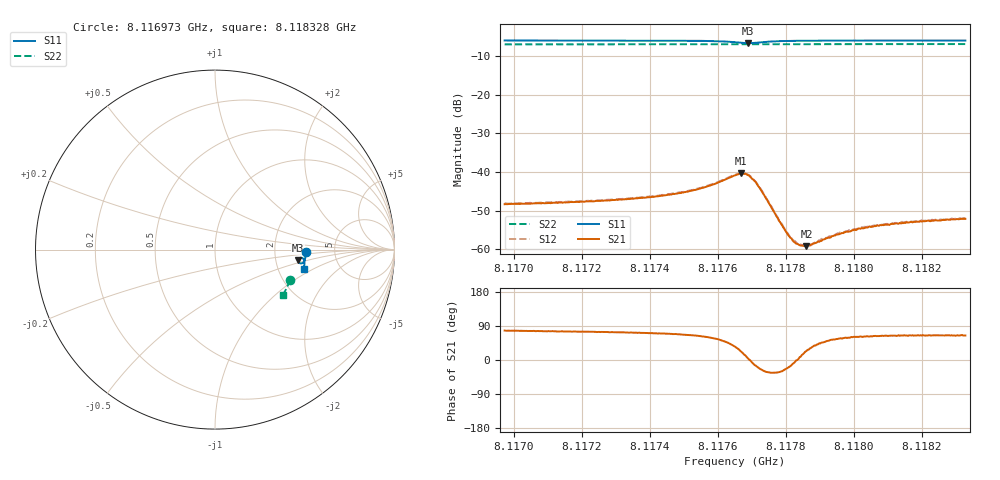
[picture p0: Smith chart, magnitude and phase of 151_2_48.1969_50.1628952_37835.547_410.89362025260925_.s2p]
#  HZ  S  RI  R  50.00
! Rohde & Schwarz Vector Network Analyzer
! Rohde-Schwarz,ZNB20-2Port,1311601062101988,3.16
! Created: UTC 3/20/2024, 11:42:49 AM
! freq[Hz]  re:S11  im:S11  re:S21  im:S21  re:S12  im:S12  re:S22  im:S22
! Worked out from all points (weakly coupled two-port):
!   401 points, 8.116973 GHz to 8.118328 GHz, reference 50 ohm
!   highest |S21| = -40.37 dB at 8.117668 GHz (marker M1); lowest = -59.2 dB at 8.117861 GHz (marker M2)
!   lowest |S11| = -6.6 dB at 8.117688 GHz (marker M3), VSWR 2.75, Z = 134 - j20.6 ohm
!   |S11| at or under -10 dB: nowhere
!   |S22| runs from -6.9 to -6.8 dB; largest |S21 - S12| = 0.00033
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8.1169735e9  0.506 -0.0149  0.000814 0.00373  0.00091 0.0038  0.4182 -0.1677
8.1172004e9  0.5046 -0.033  0.00106 0.00397  0.00115 0.00402  0.4128 -0.1824
8.1174272e9  0.5015 -0.0531  0.00164 0.00458  0.00174 0.00463  0.4067 -0.1974
8.1174983e9  0.4992 -0.0606  0.00211 0.00498  0.0022 0.00504  0.4044 -0.2019
8.1175491e9  0.4961 -0.0668  0.00278 0.00545  0.00288 0.00551  0.403 -0.2052
8.1175965e9  0.4903 -0.0733  0.00405 0.00591  0.0042 0.00599  0.4013 -0.2083
8.1176507e9  0.4739 -0.0762  0.0074 0.00519  0.00761 0.00522  0.3988 -0.2115
8.1176677e9  0.4669 -0.0717  0.00882 0.00374  0.00892 0.0037  0.3983 -0.2121
8.117688e9  0.4629 -0.0602  0.00908 0.000811  0.00927 0.000749  0.3976 -0.2129
8.1177015e9  0.4658 -0.0523  0.00804 -0.00103  0.00833 -0.00108  0.3974 -0.2133
8.1177218e9  0.4751 -0.0458  0.00588 -0.00237  0.00597 -0.00249  0.3973 -0.2143
8.1177963e9  0.4949 -0.0555  0.00162 -0.000775  0.00166 -0.000804  0.3958 -0.2195
8.1178167e9  0.4966 -0.059  0.00134 -0.000333  0.00139 -0.000342  0.3953 -0.2209
8.1178268e9  0.4972 -0.0607  0.00121 -0.000118  0.00127 -0.000139  0.395 -0.2215
8.1178404e9  0.4976 -0.0625  0.00112 0.000138  0.00112 0.000127  0.3945 -0.2224
8.1178607e9  0.4982 -0.0654  0.000999 0.00044  0.00106 0.000416  0.3939 -0.2236
8.1178776e9  0.4984 -0.0675  0.000956 0.000651  0.000946 0.000668  0.3933 -0.2248
8.1179115e9  0.4986 -0.0715  0.000913 0.000975  0.000924 0.001  0.3924 -0.227
8.1179792e9  0.4981 -0.0786  0.000885 0.00144  0.000852 0.00147  0.39 -0.2313
8.11803e9  0.4976 -0.0834  0.000873 0.00165  0.000924 0.00171  0.3883 -0.2344
8.1181045e9  0.4968 -0.0896  0.000903 0.00184  0.000987 0.0019  0.3858 -0.239
8.118328e9  0.4933 -0.1076  0.00106 0.00223  0.00108 0.00226  0.378 -0.2526
